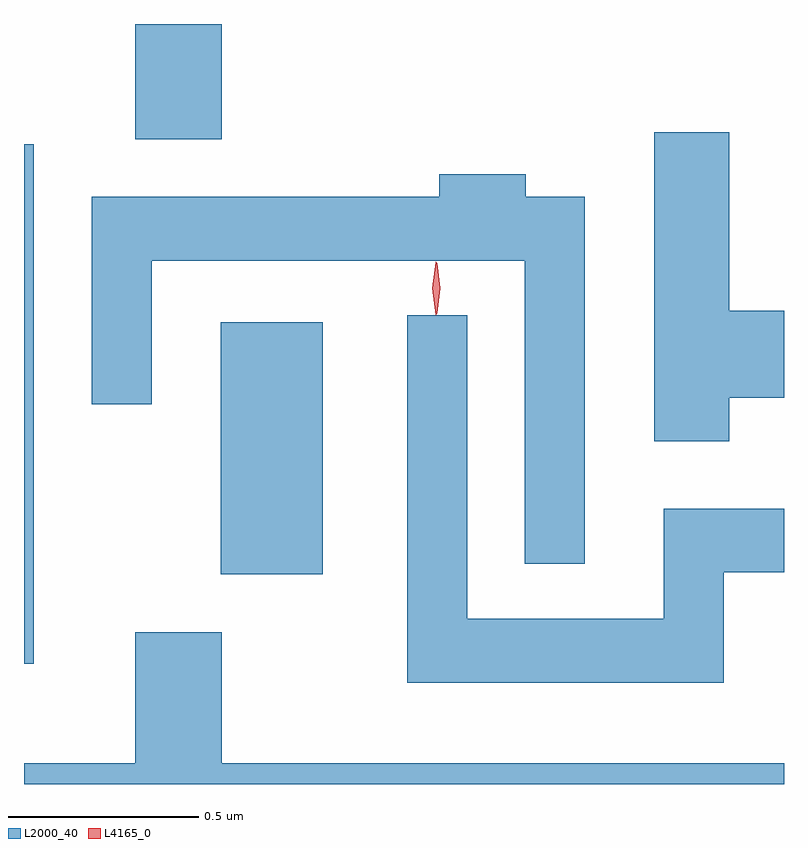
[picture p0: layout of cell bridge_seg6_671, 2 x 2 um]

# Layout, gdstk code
import gdstk
lib = gdstk.Library(unit=1e-6, precision=1e-09)
def R(c, l, rs):  # rectangles x0, y0, x1, y1
    for r in rs: c.add(gdstk.rectangle(r[:2], r[2:], *l))
def P(c, l, *ps):  # polygons
    for p in ps: c.add(gdstk.Polygon(p, *l))
L2000_40 = (2000, 40)
L4165_0 = (4165, 0)

bridge_seg6_671 = lib.new_cell('bridge_seg6_671')
R(bridge_seg6_671, L2000_40, [(401.598,1657.126,401.624,1658.493), (402.116,1657.361,402.384,1658.024), (401.891,1658.506,402.119,1658.809)])
P(bridge_seg6_671, L2000_40, [(403.454,1657.826),(403.598,1657.826),(403.598,1658.054),(403.454,1658.054),(403.454,1658.524),(403.256,1658.524),(403.256,1657.711),(403.454,1657.711)],
  [(403.074,1658.354),(402.919,1658.354),(402.919,1658.414),(402.691,1658.414),(402.691,1658.354),(401.776,1658.354),(401.776,1657.808),(401.934,1657.808),(401.934,1658.186),(402.916,1658.186),(402.916,1657.388),(403.074,1657.388)],
  [(403.439,1657.366),(403.598,1657.366),(403.598,1657.534),(403.281,1657.534),(403.281,1657.244),(402.764,1657.244),(402.764,1658.043),(402.606,1658.043),(402.606,1657.076),(403.439,1657.076)],
  [(403.598,1656.864),(402.119,1656.864),(402.119,1657.209),(401.891,1657.209),(401.891,1656.864),(401.598,1656.864),(401.598,1656.809),(403.598,1656.809)])
P(bridge_seg6_671, L4165_0, [(402.682,1658.043),(402.682,1658.044),(402.672,1658.113),(402.682,1658.182),(402.682,1658.183),(402.683,1658.182),(402.692,1658.113),(402.683,1658.044)],
  [(402.684,1658.047),(402.684,1658.048),(402.674,1658.114),(402.684,1658.18),(402.684,1658.181),(402.685,1658.18),(402.694,1658.114),(402.685,1658.048)])

lib.write_gds('bridge_seg6_671.gds')
